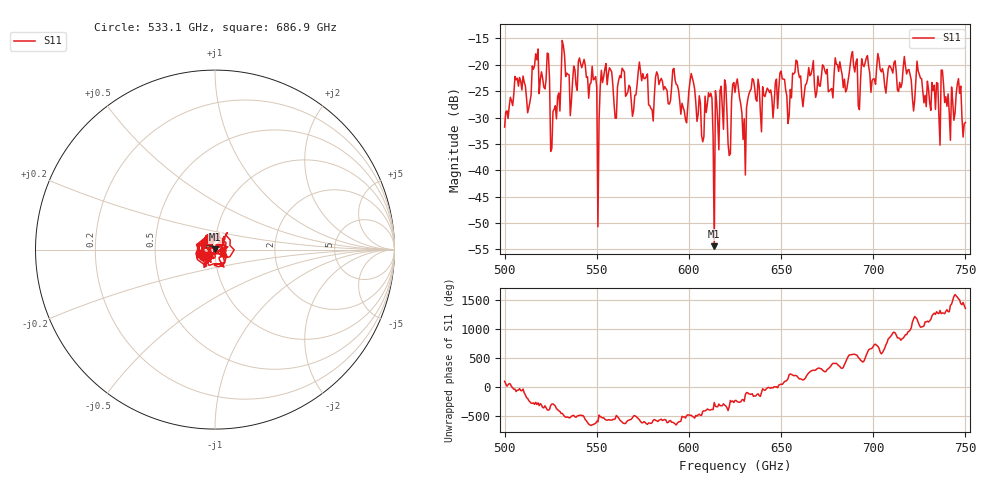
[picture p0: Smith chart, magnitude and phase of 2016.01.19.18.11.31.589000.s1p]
!Created with skrf (http://scikit-rf.org).
# GHz S RI R 50.0
!freq ReS11 ImS11
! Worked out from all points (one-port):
!   401 points, 500 GHz to 750 GHz, reference 50 ohm
!   lowest |S11| = -54.4 dB at 613.8 GHz (marker M1), VSWR 1.00, Z = 50 + j0.187 ohm
!   |S11| at or under -10 dB: start of sweep to end of sweep
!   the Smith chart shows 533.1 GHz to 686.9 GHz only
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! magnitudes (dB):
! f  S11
! 500 GHz  -31.8
! 506.9 GHz  -22.5
! 513.1 GHz  -28.1
! 516.9 GHz  -17.9
! 523.1 GHz  -17.8
! 526.2 GHz  -28.9
! 531.2 GHz  -15.4
! 548.8 GHz  -22.7
! 550.6 GHz  -50.7
! 553.8 GHz  -22.3
! 562.5 GHz  -22.1
! 593.8 GHz  -23.9
! 598.1 GHz  -30.4
! 601.9 GHz  -22.5
! 608.1 GHz  -33.6
! 611.2 GHz  -26.0
! 613.8 GHz  -54.4
! 618.8 GHz  -32.2
! 621.9 GHz  -37.2
! 625 GHz  -25.2
! 630 GHz  -30.2
! 634.4 GHz  -22.6
! 656.2 GHz  -21.6
! 687.5 GHz  -20.1
! 718.8 GHz  -21.0
! 742.5 GHz  -24.2
! 746.2 GHz  -22.6
! 750 GHz  -30.9
